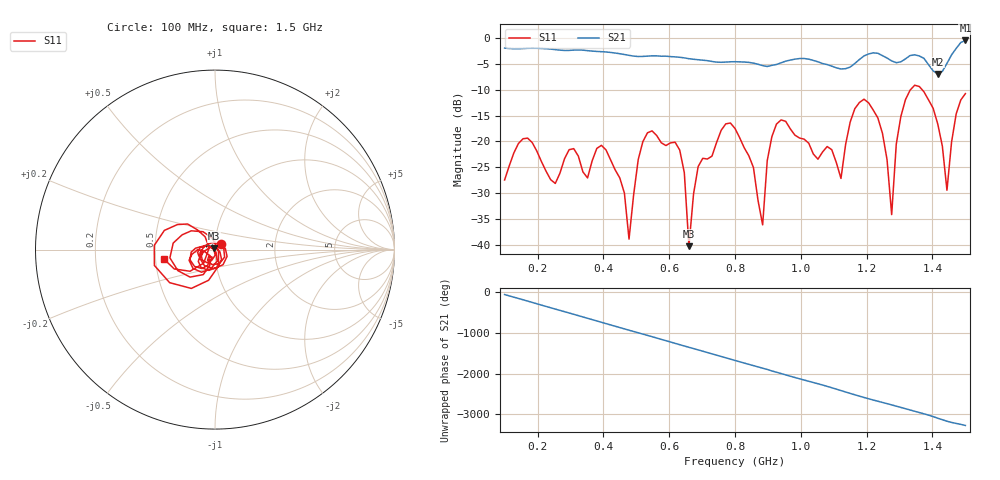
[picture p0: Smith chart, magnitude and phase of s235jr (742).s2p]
! NanoVNA-App
! Date: 2025-09-25 15:09:57
! Start: 100MHz Stop: 1,5GHz Points: 101
! S-Parameter data: F S11 S21 S12 S22
# Hz S RI R 50
!  Frequency  S11_Real  S11_Imag  S21_Real  S21_Imag  S12_Real  S12_Imag  S22_Real  S22_Imag
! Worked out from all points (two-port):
!   101 points, 100 MHz to 1.5 GHz, reference 50 ohm
!   highest |S21| = -0.49 dB at 1.5 GHz (marker M1); lowest = -7.0 dB at 1.416 GHz (marker M2)
!   |S21| within 3 dB of the highest: start of sweep to 489.6 MHz; 1.192 GHz to 1.25 GHz (58.09 MHz wide, 4.76 % of centre) (the widest 2 of 5)
!   lowest |S11| = -40.3 dB at 660 MHz (marker M3), VSWR 1.02, Z = 49.3 + j0.612 ohm
!   |S11| at or under -10 dB: start of sweep to 1.333 GHz; 1.368 GHz to end of sweep
!   S12 and S22 are empty: the file has one direction only
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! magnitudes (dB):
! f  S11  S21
! 100 MHz  -27.5  -2.0
! 170 MHz  -19.4  -2.0
! 338 MHz  -25.9  -2.4
! 408 MHz  -21.6  -2.7
! 478 MHz  -38.9  -3.4
! 520 MHz  -20.1  -3.6
! 576 MHz  -20.3  -3.5
! 632 MHz  -21.7  -3.7
! 660 MHz  -40.3  -4.0
! 688 MHz  -24.9  -4.2
! 800 MHz  -17.5  -4.6
! 884 MHz  -36.1  -5.4
! 926 MHz  -16.7  -5.1
! 1.038 GHz  -22.4  -4.3
! 1.122 GHz  -27.2  -6.0
! 1.192 GHz  -11.9  -3.5
! 1.248 GHz  -18.4  -3.4
! 1.276 GHz  -34.2  -4.4
! 1.332 GHz  -10.1  -3.4
! 1.416 GHz  -16.6  -7.0
! 1.444 GHz  -29.5  -4.9
! 1.5 GHz  -10.8  -0.5
